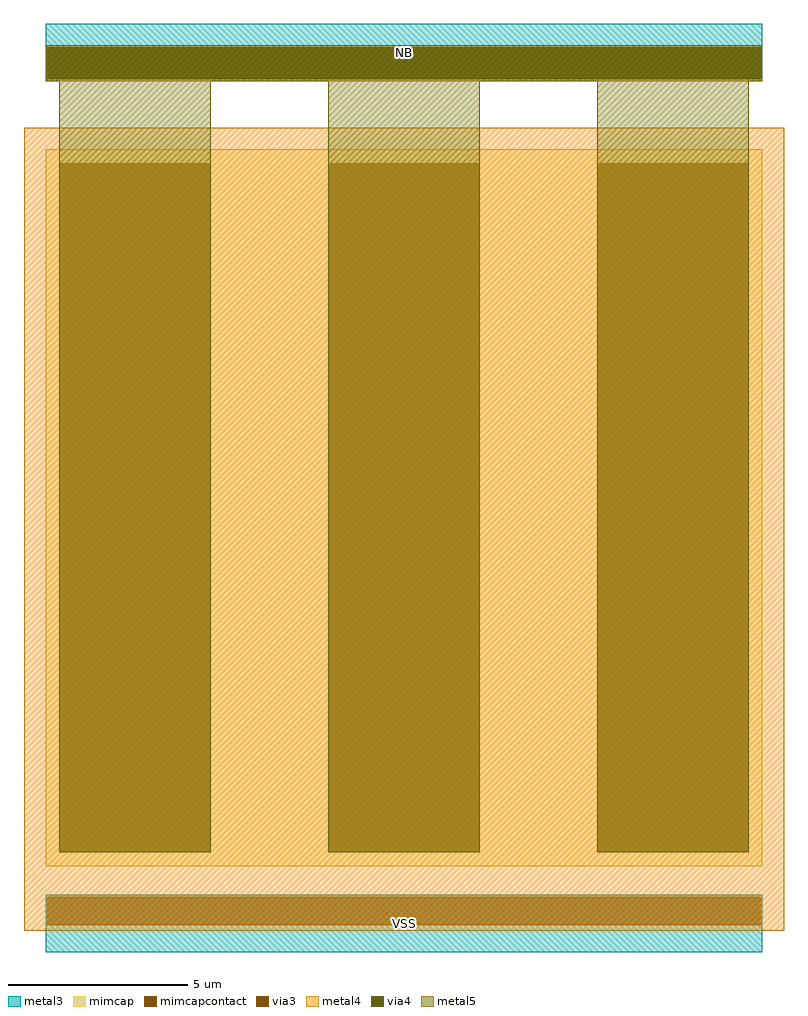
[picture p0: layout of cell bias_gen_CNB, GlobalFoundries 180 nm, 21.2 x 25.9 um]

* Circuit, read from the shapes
.subckt bias_gen_CNB NB VSS
XC1 NB VSS cap_mim_2f0fF c_width=20u c_length=20u
.ends

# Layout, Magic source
magic
tech gf180mcuD
magscale 1 10
<< metal3 >>
rect 0 -340 4000 -160
rect 0 4380 4000 4580
rect 0 4380 4000 4700
rect 0 4380 4000 4700
rect 0 -480 4000 -160
rect 0 -480 4000 -160
<< metal4 >>
rect -120 -360 4120 4120
rect 0 -340 4000 -160
rect 0 4380 4000 4580
rect 0 4380 4000 4580
<< mimcap >>
rect 0 0 4000 4000
<< metal5 >>
rect 78 78 922 4480
rect 1578 78 2422 4480
rect 3078 78 3922 4480
rect 0 4380 4000 4580
rect 0 4380 4000 4580
<< via3 >>
rect 10 -330 3990 -170
rect 10 4390 3990 4570
<< via4 >>
rect 10 4390 3990 4570
<< mimcapcontact >>
rect 78 78 922 3922
rect 1578 78 2422 3922
rect 3078 78 3922 3922
<< labels >>
flabel metal3 s 0 4380 4000 4700 0 FreeSans 80 0 0 0 NB
port 1 nsew signal bidirectional
flabel metal3 s 0 -480 4000 -160 0 FreeSans 80 0 0 0 VSS
port 2 nsew signal bidirectional
<< end >>
